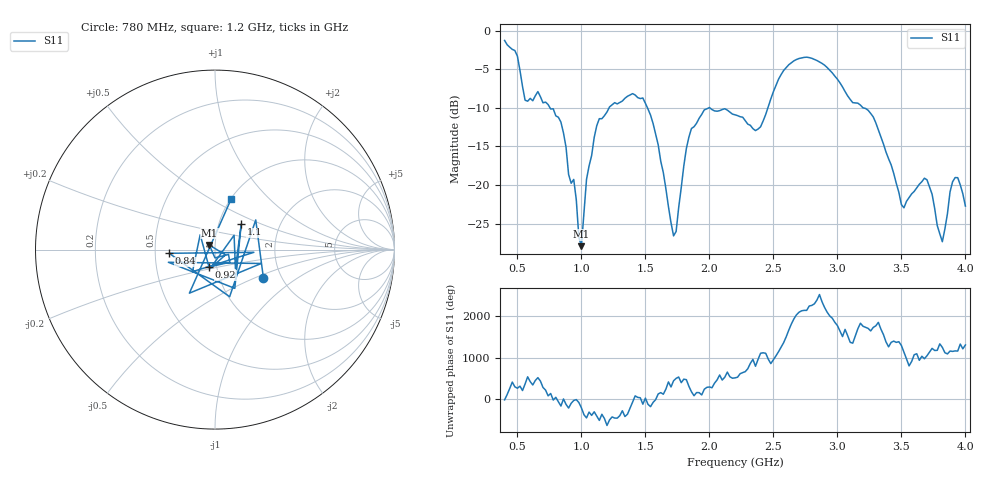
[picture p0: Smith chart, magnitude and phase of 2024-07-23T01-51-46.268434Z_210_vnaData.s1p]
!Created with skrf (http://scikit-rf.org).
# Hz S RI R 50.0
!freq ReS11 ImS11
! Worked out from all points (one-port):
!   181 points, 400 MHz to 4 GHz, reference 50 ohm
!   lowest |S11| = -27.9 dB at 1 GHz (marker M1), VSWR 1.08, Z = 46.9 + j2.37 ohm
!   |S11| at or under -10 dB: 754.9 MHz to 1.216 GHz (461.2 MHz wide, 46.8 % of centre); 1.516 GHz to 1.995 GHz (478.6 MHz wide, 27.3 % of centre); 3.202 GHz to end of sweep (the widest 3 of 4)
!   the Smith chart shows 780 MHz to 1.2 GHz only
!   S11 on the Smith chart (normalised r, x): 780 MHz: 1.62, -0.56; 840 MHz: 0.59, -0.03; 920 MHz: 0.92, -0.18; 1.1 GHz: 1.28, +0.38; 1.2 GHz: 1.01, +0.62
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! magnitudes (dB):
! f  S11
! 400 MHz  -1.3
! 500 MHz  -3.3
! 560 MHz  -9.0
! 780 MHz  -10.1
! 840 MHz  -11.8
! 860 MHz  -13.3
! 920 MHz  -19.8
! 1 GHz  -27.9
! 1.04 GHz  -19.3
! 1.1 GHz  -13.8
! 1.2 GHz  -10.5
! 1.3 GHz  -9.3
! 1.48 GHz  -8.7
! 1.6 GHz  -14.8
! 1.72 GHz  -26.6
! 1.76 GHz  -22.9
! 1.86 GHz  -12.7
! 2.2 GHz  -10.9
! 2.4 GHz  -12.4
! 2.66 GHz  -3.9
! 3.1 GHz  -8.9
! 3.28 GHz  -11.2
! 3.5 GHz  -22.5
! 3.56 GHz  -21.6
! 3.7 GHz  -19.3
! 3.82 GHz  -27.3
! 3.92 GHz  -19.0
! 4 GHz  -22.7
